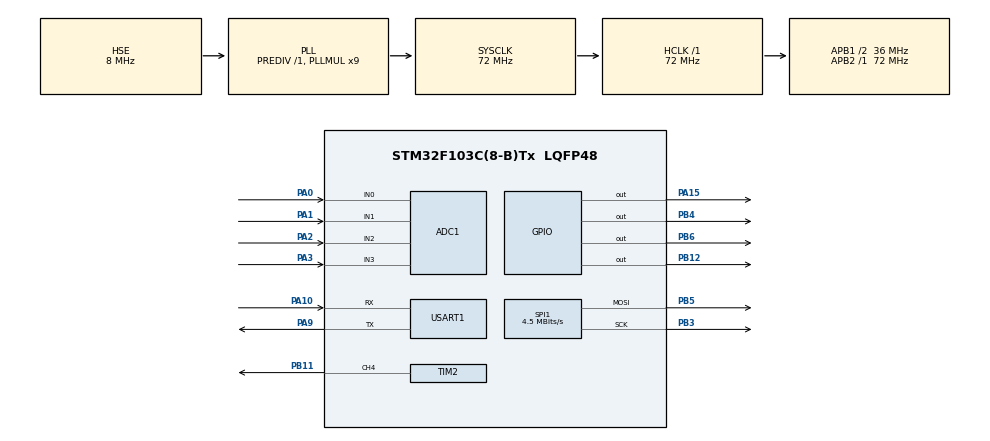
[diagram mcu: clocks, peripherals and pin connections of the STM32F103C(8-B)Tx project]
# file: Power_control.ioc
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ADC1.Channel-0\#ChannelRegularConversion=ADC_CHANNEL_0
ADC1.Channel-1\#ChannelRegularConversion=ADC_CHANNEL_1
ADC1.Channel-2\#ChannelRegularConversion=ADC_CHANNEL_2
ADC1.Channel-3\#ChannelRegularConversion=ADC_CHANNEL_TEMPSENSOR
ADC1.Channel-4\#ChannelRegularConversion=ADC_CHANNEL_VREFINT
ADC1.Channel-5\#ChannelRegularConversion=ADC_CHANNEL_3
ADC1.ContinuousConvMode=ENABLE
ADC1.NbrOfConversion=6
ADC1.NbrOfConversionFlag=1
ADC1.Rank-0\#ChannelRegularConversion=1
ADC1.Rank-1\#ChannelRegularConversion=2
ADC1.Rank-2\#ChannelRegularConversion=3
ADC1.Rank-3\#ChannelRegularConversion=4
ADC1.Rank-4\#ChannelRegularConversion=5
ADC1.Rank-5\#ChannelRegularConversion=6
ADC1.SamplingTime-0\#ChannelRegularConversion=ADC_SAMPLETIME_71CYCLES_5
ADC1.SamplingTime-1\#ChannelRegularConversion=ADC_SAMPLETIME_71CYCLES_5
ADC1.SamplingTime-2\#ChannelRegularConversion=ADC_SAMPLETIME_71CYCLES_5
ADC1.SamplingTime-3\#ChannelRegularConversion=ADC_SAMPLETIME_71CYCLES_5
ADC1.SamplingTime-4\#ChannelRegularConversion=ADC_SAMPLETIME_71CYCLES_5
ADC1.SamplingTime-5\#ChannelRegularConversion=ADC_SAMPLETIME_71CYCLES_5
ADC1.master=1
Dma.ADC1.0.Direction=DMA_PERIPH_TO_MEMORY
Dma.ADC1.0.Instance=DMA1_Channel1
Dma.ADC1.0.MemDataAlignment=DMA_MDATAALIGN_HALFWORD
Dma.ADC1.0.MemInc=DMA_MINC_ENABLE
Dma.ADC1.0.Mode=DMA_NORMAL
Dma.ADC1.0.PeriphDataAlignment=DMA_PDATAALIGN_HALFWORD
Dma.ADC1.0.PeriphInc=DMA_PINC_DISABLE
Dma.ADC1.0.Priority=DMA_PRIORITY_LOW
Dma.Request0=ADC1
Mcu.Family=STM32F1
Mcu.Name=STM32F103C(8-B)Tx
Mcu.Package=LQFP48
NVIC.DMA1_Channel1_IRQn=true\:0\:0\:false\:false\:true\:false\:true\:true
NVIC.PriorityGroup=NVIC_PRIORITYGROUP_4
PA0-WKUP.Signal=ADCx_IN0
PA1.Signal=ADCx_IN1
PA10.Mode=Asynchronous
PA10.Signal=USART1_RX
PA13.Mode=Serial_Wire
PA13.Signal=SYS_JTMS-SWDIO
PA14.Mode=Serial_Wire
PA14.Signal=SYS_JTCK-SWCLK
PA15.Signal=GPIO_Output
PA2.Signal=ADCx_IN2
PA3.Signal=ADCx_IN3
PA9.Mode=Asynchronous
PA9.Signal=USART1_TX
PB11.Signal=S_TIM2_CH4
PB12.Signal=GPIO_Output
PB3.Mode=TX_Only_Simplex_Unidirect_Master
PB3.Signal=SPI1_SCK
PB4.Signal=GPIO_Output
PB5.Mode=TX_Only_Simplex_Unidirect_Master
PB5.Signal=SPI1_MOSI
PB6.Signal=GPIO_Output
PC14-OSC32_IN.Mode=LSE-External-Oscillator
PC14-OSC32_IN.Signal=RCC_OSC32_IN
PC15-OSC32_OUT.Mode=LSE-External-Oscillator
PC15-OSC32_OUT.Signal=RCC_OSC32_OUT
PD0-OSC_IN.Mode=HSE-External-Oscillator
PD0-OSC_IN.Signal=RCC_OSC_IN
PD1-OSC_OUT.Mode=HSE-External-Oscillator
PD1-OSC_OUT.Signal=RCC_OSC_OUT
ProjectManager.HeapSize=0x200
ProjectManager.StackSize=0x400
ProjectManager.TargetToolchain=MDK-ARM V5.32
RCC.ADCPresc=RCC_ADCPCLK2_DIV6
RCC.AHBFreq_Value=72000000
RCC.APB1CLKDivider=RCC_HCLK_DIV2
RCC.APB1Freq_Value=36000000
RCC.APB1TimFreq_Value=72000000
RCC.APB2Freq_Value=72000000
RCC.APB2TimFreq_Value=72000000
RCC.HCLKFreq_Value=72000000
RCC.PLLMUL=RCC_PLL_MUL9
RCC.PLLSourceVirtual=RCC_PLLSOURCE_HSE
RCC.SYSCLKFreq_VALUE=72000000
RCC.SYSCLKSource=RCC_SYSCLKSOURCE_PLLCLK
RCC.USBFreq_Value=72000000
SH.ADCx_IN0.0=ADC1_IN0,IN0
SH.ADCx_IN1.0=ADC1_IN1,IN1
SH.ADCx_IN2.0=ADC1_IN2,IN2
SH.ADCx_IN3.0=ADC1_IN3,IN3
SH.S_TIM2_CH4.0=TIM2_CH4,PWM Generation4 CH4
SPI1.BaudRatePrescaler=SPI_BAUDRATEPRESCALER_16
SPI1.CalculateBaudRate=4.5 MBits/s
SPI1.Direction=SPI_DIRECTION_2LINES
SPI1.Mode=SPI_MODE_MASTER
SPI1.VirtualType=VM_MASTER
TIM2.Channel-PWM\ Generation4\ CH4=TIM_CHANNEL_4
USART1.VirtualMode=VM_ASYNC
VP_ADC1_TempSens_Input.Mode=IN-TempSens
VP_ADC1_Vref_Input.Mode=IN-Vrefint
VP_TIM1_VS_ClockSourceINT.Mode=Internal
board=custom

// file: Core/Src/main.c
/* USER CODE BEGIN Header */
/**
  ******************************************************************************
  * @file           : main.c
  * @brief          : Main program body
  ******************************************************************************
  * @attention
  *
  * Copyright (c) 2025 STMicroelectronics.
  * All rights reserved.
  *
  * This software is licensed under terms that can be found in the LICENSE file
  * in the root directory of this software component.
  * If no LICENSE file comes with this software, it is provided AS-IS.
  *
  ******************************************************************************
  */
/* USER CODE END Header */
#include "main.h"
#include "adc.h"
#include "dma.h"
#include "spi.h"
#include "tim.h"
#include "usart.h"
#include "gpio.h"

/* USER CODE BEGIN Includes */
#include <stdio.h>
/* USER CODE END Includes */

void SystemClock_Config(void);

/* USER CODE BEGIN 0 */
uint16_t TxData[6] = {0};

void Warning()
{
  HAL_GPIO_TogglePin(GPIOB, GPIO_PIN_12);
  __HAL_TIM_SetCompare(&htim2, TIM_CHANNEL_4, 50);
}
/* USER CODE END 0 */

int main(void)
{

  /* MCU Configuration--------------------------------------------------------*/

  /* Reset of all peripherals, Initializes the Flash interface and the Systick. */
  HAL_Init();

  /* Configure the system clock */
  SystemClock_Config();

  /* Initialize all configured peripherals */
  MX_GPIO_Init();
  MX_DMA_Init();
  MX_ADC1_Init();
  MX_SPI1_Init();
  MX_TIM2_Init();
  MX_USART1_UART_Init();
  MX_TIM1_Init();
  /* USER CODE BEGIN 2 */
  HAL_ADC_Start_DMA(&hadc1, (uint32_t *)TxData, sizeof(TxData));
  HAL_ADCEx_Calibration_Start(&hadc1);

  HAL_TIM_PWM_Start(&htim2, TIM_CHANNEL_4);
  HAL_TIM_Base_Start_IT(&htim1);
  /* USER CODE END 2 */

  /* Infinite loop */
  while (1)
  {

  }
}

void SystemClock_Config(void)
{
  RCC_OscInitTypeDef RCC_OscInitStruct = {0};
  RCC_ClkInitTypeDef RCC_ClkInitStruct = {0};
  RCC_PeriphCLKInitTypeDef PeriphClkInit = {0};

  /** Initializes the RCC Oscillators according to the specified parameters
  * in the RCC_OscInitTypeDef structure.
  */
  RCC_OscInitStruct.OscillatorType = RCC_OSCILLATORTYPE_HSE;
  RCC_OscInitStruct.HSEState = RCC_HSE_ON;
  RCC_OscInitStruct.HSEPredivValue = RCC_HSE_PREDIV_DIV1;
  RCC_OscInitStruct.HSIState = RCC_HSI_ON;
  RCC_OscInitStruct.PLL.PLLState = RCC_PLL_ON;
  RCC_OscInitStruct.PLL.PLLSource = RCC_PLLSOURCE_HSE;
  RCC_OscInitStruct.PLL.PLLMUL = RCC_PLL_MUL9;
  if (HAL_RCC_OscConfig(&RCC_OscInitStruct) != HAL_OK)
  {
    Error_Handler();
  }

  /** Initializes the CPU, AHB and APB buses clocks
  */
  RCC_ClkInitStruct.ClockType = RCC_CLOCKTYPE_HCLK|RCC_CLOCKTYPE_SYSCLK
                              |RCC_CLOCKTYPE_PCLK1|RCC_CLOCKTYPE_PCLK2;
  RCC_ClkInitStruct.SYSCLKSource = RCC_SYSCLKSOURCE_PLLCLK;
  RCC_ClkInitStruct.AHBCLKDivider = RCC_SYSCLK_DIV1;
  RCC_ClkInitStruct.APB1CLKDivider = RCC_HCLK_DIV2;
  RCC_ClkInitStruct.APB2CLKDivider = RCC_HCLK_DIV1;

  if (HAL_RCC_ClockConfig(&RCC_ClkInitStruct, FLASH_LATENCY_2) != HAL_OK)
  {
    Error_Handler();
  }
  PeriphClkInit.PeriphClockSelection = RCC_PERIPHCLK_ADC;
  PeriphClkInit.AdcClockSelection = RCC_ADCPCLK2_DIV6;
  if (HAL_RCCEx_PeriphCLKConfig(&PeriphClkInit) != HAL_OK)
  {
    Error_Handler();
  }
}

/* USER CODE BEGIN 4 */
void HAL_TIM_PeriodElapsedCallback(TIM_HandleTypeDef *htim)
{
  if (htim == &htim1)
  {
//    HAL_UART_Transmit_DMA(&huart1,TxData, 8);
  }
}

void HAL_UART_RxCpltCallback(UART_HandleTypeDef *huart)
{
  if (huart == &huart1)
  {
  }
}

void HAL_ADC_ConvCpltCallback(ADC_HandleTypeDef *hadc)
{
  if (hadc == &hadc1)
  {
  }
}
/* USER CODE END 4 */

void Error_Handler(void)
{
  __disable_irq();
  while (1)
  {
  }
}
